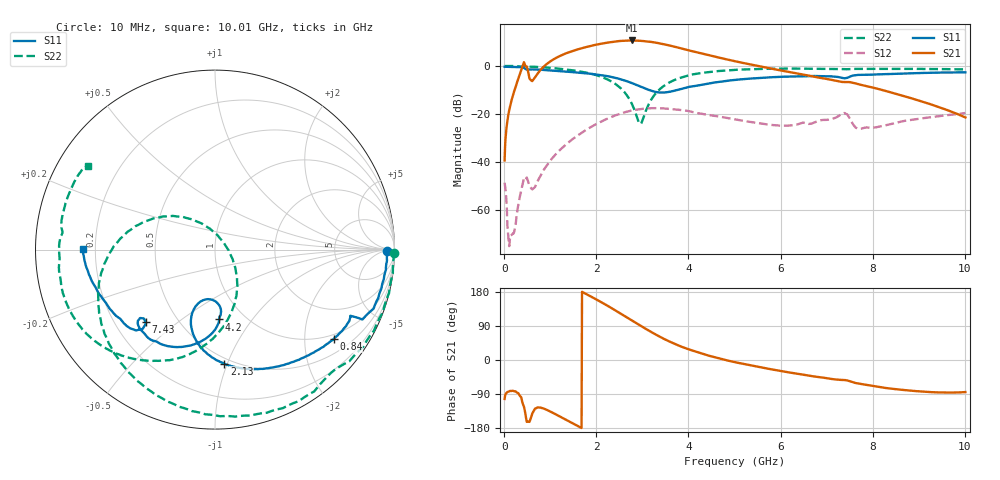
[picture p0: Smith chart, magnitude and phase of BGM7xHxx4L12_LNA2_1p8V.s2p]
! (c) 2014 Infineon Technologies AG
! BGM7xHxx4L12 - Silicon Germanium Quad-Band LTE LNA bank
! 20 May 2014
! Special Application Board
! C1 = L1 = 0 Ohm
! C2 = 100 nF
! Vcc = 1.8V
! RF input and output lines de-embedded
! Port 1 reference plane: LNA input AI (pin 9)
! Port 2 reference plane: LNA output AO (pin 6)
! Network Data:
! Measured BGM7xHxx4L12 device level s-parameters
# GHz S MA R 50
!Freq  MagS11  AngS11  MagS21  AngS21  MagS12  AngS12  MagS22  AngS22
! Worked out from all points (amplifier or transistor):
!   1001 points, 10 MHz to 10.01 GHz, reference 50 ohm
!   highest |S21| = 10.7 dB at 2.77 GHz (marker M1)
!   |S21| within 3 dB of that: 1.73 GHz to 3.78 GHz (2.049 GHz wide, 74.4 % of centre)
!   unconditionally stable (mu >= 1): start of sweep to end of sweep
!   at 1.67 GHz: K = 1.70, MAG = 12.8 dB, |S12| = -28.1 dB
!   at 5.01 GHz: K = 1.41, MAG = 8.3 dB, |S12| = -22.3 dB
!   at 10.01 GHz: K = 6.79, MAG = -12.2 dB, |S12| = -19.7 dB
!   lowest NFmin = 0.74 dB at 2.6 GHz
!   S11 on the Smith chart (normalised r, x): 10 MHz: 48, -8; 840 MHz: 0.87, -2.75; 2.13 GHz: 0.46, -0.98; 4.2 GHz: 0.77, -0.70; 7.43 GHz: 0.33, -0.39; 10.01 GHz: 0.15, +0.00
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0.01  0.9605 -0.4  0.01061 -102.9  0.003648 -44.4  0.9997 -0.9
0.14  0.9569 -7.3  0.1592 -81.8  0.0002883 164.3  0.9969 -15.1
0.33  0.9447 -17.8  0.6345 -92.5  0.001657 -161.9  0.979 -35.4
0.44  0.8969 -25.4  1.122 -128.6  0.004386 160.3  0.9438 -46.0
0.55  0.8422 -26.0  0.5428 -163.4  0.003135 118.3  0.9644 -55.0
0.66  0.8454 -29.9  0.5585 -130.4  0.002894 153.5  0.9598 -65.8
0.84  0.8279 -37.0  0.9315 -127.4  0.006281 170.9  0.9371 -82.2
1.24  0.7742 -51.6  1.663 -151.1  0.01869 163.3  0.8661 -114.4
1.68  0.7175 -67.7  2.343 -179.4  0.0401 146.5  0.7581 -146.2
2.13  0.6382 -85.3  2.943 151.0  0.0707 125.9  0.5825 -178.8
2.44  0.5555 -97.5  3.261 129.2  0.09467 109.5  0.4032 156.0
2.77  0.4401 -107.7  3.409 104.6  0.1173 90.2  0.1636 117.0
2.96  0.3701 -109.7  3.348 90.4  0.1257 79.0  0.06164 30.7
3.35  0.2802 -99.4  2.993 63.2  0.131 57.7  0.309 -68.8
3.71  0.3064 -86.2  2.506 42.1  0.1237 41.9  0.5148 -93.7
4.2  0.3899 -86.5  1.916 20.3  0.1033 26.3  0.6933 -116.7
5.01  0.5101 -97.7  1.256 -5.8  0.07676 17.4  0.8274 -139.5
6.68  0.6168 -125.9  0.609 -42.6  0.06291 41.3  0.8765 -172.4
7.43  0.5595 -133.7  0.4618 -53.6  0.09866 14.1  0.8549 173.7
7.68  0.65 -138.8  0.4185 -62.1  0.04886 19.0  0.8707 169.3
8.35  0.6774 -154.5  0.2877 -75.0  0.05952 50.4  0.8706 158.0
10.01  0.7358 179.5  0.08381 -84.6  0.104 53.3  0.8475 146.5
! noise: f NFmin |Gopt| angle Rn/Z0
2.3  0.7842  0.4607  83.92  0.1525
2.4  0.7603  0.38  80.17  0.1437
2.5  0.7816  0.5012  72.97  0.1651
2.6  0.7432  0.3943  70.5  0.1624
2.68  0.7916  0.461  72.26  0.1591
